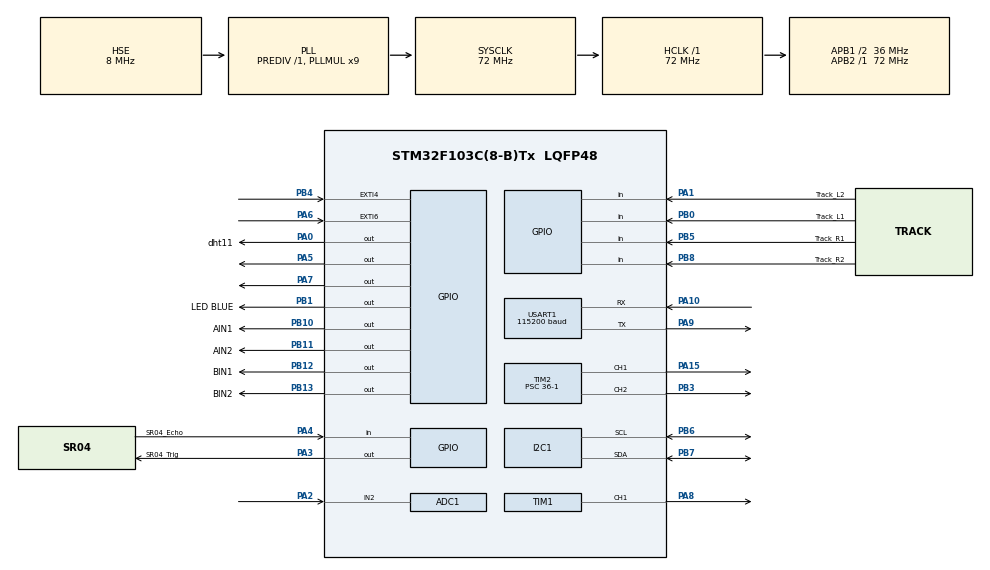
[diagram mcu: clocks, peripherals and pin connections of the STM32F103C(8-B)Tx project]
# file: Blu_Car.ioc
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ADC1.Channel-0\#ChannelRegularConversion=ADC_CHANNEL_2
ADC1.NbrOfConversionFlag=1
ADC1.Rank-0\#ChannelRegularConversion=1
ADC1.SamplingTime-0\#ChannelRegularConversion=ADC_SAMPLETIME_1CYCLE_5
ADC1.master=1
Dma.Request0=USART1_RX
Dma.USART1_RX.0.Direction=DMA_PERIPH_TO_MEMORY
Dma.USART1_RX.0.Instance=DMA1_Channel5
Dma.USART1_RX.0.MemDataAlignment=DMA_MDATAALIGN_BYTE
Dma.USART1_RX.0.MemInc=DMA_MINC_ENABLE
Dma.USART1_RX.0.Mode=DMA_NORMAL
Dma.USART1_RX.0.PeriphDataAlignment=DMA_PDATAALIGN_BYTE
Dma.USART1_RX.0.PeriphInc=DMA_PINC_DISABLE
Dma.USART1_RX.0.Priority=DMA_PRIORITY_LOW
I2C1.I2C_Mode=I2C_Fast
Mcu.Family=STM32F1
Mcu.Name=STM32F103C(8-B)Tx
Mcu.Package=LQFP48
NVIC.DMA1_Channel5_IRQn=true\:0\:0\:false\:false\:true\:false\:true
NVIC.EXTI4_IRQn=true\:0\:0\:false\:false\:true\:true\:true
NVIC.EXTI9_5_IRQn=true\:0\:0\:false\:false\:true\:true\:true
NVIC.PriorityGroup=NVIC_PRIORITYGROUP_4
NVIC.TIM4_IRQn=true\:0\:0\:false\:false\:true\:true\:true
NVIC.USART1_IRQn=true\:0\:0\:false\:false\:true\:true\:true
PA0-WKUP.GPIO_Label=dht11
PA0-WKUP.Signal=GPIO_Output
PA1.GPIO_Label=Track_L2
PA1.Signal=GPIO_Input
PA10.Mode=Asynchronous
PA10.Signal=USART1_RX
PA13.Mode=Serial_Wire
PA13.Signal=SYS_JTMS-SWDIO
PA14.Mode=Serial_Wire
PA14.Signal=SYS_JTCK-SWCLK
PA15.Signal=S_TIM2_CH1_ETR
PA2.Signal=ADCx_IN2
PA3.GPIO_Label=SR04_Trig
PA3.Signal=GPIO_Output
PA4.GPIO_Label=SR04_Echo
PA4.Signal=GPIO_Input
PA5.Signal=GPIO_Output
PA6.GPIO_ModeDefaultEXTI=GPIO_MODE_IT_RISING_FALLING
PA6.GPIO_PuPd=GPIO_PULLUP
PA6.Signal=GPXTI6
PA7.Signal=GPIO_Output
PA8.Signal=S_TIM1_CH1
PA9.Mode=Asynchronous
PA9.Signal=USART1_TX
PB0.GPIO_Label=Track_L1
PB0.GPIO_PuPd=GPIO_PULLDOWN
PB0.Signal=GPIO_Input
PB1.GPIO_Label=LED BLUE
PB1.Signal=GPIO_Output
PB10.GPIO_Label=AIN1
PB10.Signal=GPIO_Output
PB11.GPIO_Label=AIN2
PB11.Signal=GPIO_Output
PB12.GPIO_Label=BIN1
PB12.Signal=GPIO_Output
PB13.GPIO_Label=BIN2
PB13.Signal=GPIO_Output
PB3.Signal=S_TIM2_CH2
PB4.GPIO_ModeDefaultEXTI=GPIO_MODE_IT_RISING_FALLING
PB4.GPIO_PuPd=GPIO_PULLUP
PB4.Signal=GPXTI4
PB5.GPIO_Label=Track_R1
PB5.Signal=GPIO_Input
PB6.Mode=I2C
PB6.Signal=I2C1_SCL
PB7.Mode=I2C
PB7.Signal=I2C1_SDA
PB8.GPIO_Label=Track_R2
PB8.Signal=GPIO_Input
PD0-OSC_IN.Mode=HSE-External-Oscillator
PD0-OSC_IN.Signal=RCC_OSC_IN
PD1-OSC_OUT.Mode=HSE-External-Oscillator
PD1-OSC_OUT.Signal=RCC_OSC_OUT
ProjectManager.HeapSize=0x200
ProjectManager.StackSize=0x400
ProjectManager.TargetToolchain=MDK-ARM V5.27
RCC.ADCPresc=RCC_ADCPCLK2_DIV6
RCC.AHBFreq_Value=72000000
RCC.APB1CLKDivider=RCC_HCLK_DIV2
RCC.APB1Freq_Value=36000000
RCC.APB1TimFreq_Value=72000000
RCC.APB2Freq_Value=72000000
RCC.APB2TimFreq_Value=72000000
RCC.HCLKFreq_Value=72000000
RCC.PLLMUL=RCC_PLL_MUL9
RCC.PLLSourceVirtual=RCC_PLLSOURCE_HSE
RCC.SYSCLKFreq_VALUE=72000000
RCC.SYSCLKSource=RCC_SYSCLKSOURCE_PLLCLK
RCC.USBFreq_Value=72000000
SH.ADCx_IN2.0=ADC1_IN2,IN2
SH.S_TIM1_CH1.0=TIM1_CH1,PWM Generation1 CH1
SH.S_TIM2_CH1_ETR.0=TIM2_CH1,PWM Generation1 CH1
SH.S_TIM2_CH2.0=TIM2_CH2,PWM Generation2 CH2
TIM1.Channel-PWM\ Generation1\ CH1=TIM_CHANNEL_1
TIM1.Period=20000-1
TIM1.Prescaler=72-1
TIM2.Channel-PWM\ Generation1\ CH1=TIM_CHANNEL_1
TIM2.Channel-PWM\ Generation2\ CH2=TIM_CHANNEL_2
TIM2.Period=100-1
TIM2.Prescaler=36-1
TIM3.AutoReloadPreload=TIM_AUTORELOAD_PRELOAD_ENABLE
TIM3.Prescaler=72-1
TIM4.Period=100-1
TIM4.Prescaler=7200-1
USART1.BaudRate=115200
USART1.VirtualMode=VM_ASYNC
VP_TIM1_VS_ClockSourceINT.Mode=Internal
VP_TIM2_VS_ClockSourceINT.Mode=Internal
VP_TIM3_VS_ClockSourceINT.Mode=Internal
VP_TIM4_VS_ClockSourceINT.Mode=Internal
board=custom

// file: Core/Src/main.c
/* USER CODE BEGIN Header */
/**
  ******************************************************************************
  * @file           : main.c
  * @brief          : Main program body
  ******************************************************************************
  * @attention
  *
  * <h2><center>&copy; Copyright (c) 2025 STMicroelectronics.
  * All rights reserved.</center></h2>
  *
  * This software component is licensed by ST under BSD 3-Clause license,
  * the "License"; You may not use this file except in compliance with the
  * License. You may obtain a copy of the License at:
  *                        opensource.org/licenses/BSD-3-Clause
  *
  ******************************************************************************
  */
/* USER CODE END Header */
#include "main.h"
#include "adc.h"
#include "dma.h"
#include "i2c.h"
#include "tim.h"
#include "usart.h"
#include "gpio.h"

/* USER CODE BEGIN Includes */
#include <string.h>
#include "oled.h"
#include "font.h"
#include <stdio.h>
#include <stdlib.h>
#include "dht11.h"
//#include "max7219.h"
#include "key.h"
//#include "MPU6050.h"
#include "Blucar.h"
#include "PID.h"
#include "mpu6050.h"
#include "HCSR04.h"
#include "filter.h"
/* USER CODE END Includes */

/* USER CODE BEGIN PD */

#define RX_MAX_LEN 1024       // 定义足够大的接收缓冲区
#define RX_BUFFER_SIZE 512
#define RX_BLU_SIZE 256  // 定义缓冲区大小
#define free_state 0
#define singlepress 1
#define doublepress 2
#define longpress 3
#define WEATHER_KEY "SkauKTjXsbUijiTkw"
#define WEATHER_CITY "guangzhou"
// OneNET 配置信息
#define ONENET_PID      "NW4ydVqKGU"       // 产品 ID
#define ONENET_DEVICE   "pro1"             // 设备名称
// 【注意】这里必须填计算出来的 Token (res=products/PID/devices/pro1)
#define ONENET_TOKEN "version=2018-10-31&res=products%2FNW4ydVqKGU%2Fdevices%2Fpro1&et=2541412770&method=md5&sign=2vCMFmP%2FtvBfhgw8YwXQDg%3D%3D"

// OneNET 物模型上报 Topic (固定格式)
#define TOPIC_POST      "$sys/" ONENET_PID "/" ONENET_DEVICE "/thing/property/post"
/* USER CODE END PD */

/* USER CODE BEGIN PV */
PID_TypeDef Motor_PID_L;
PID_TypeDef Motor_PID_R;
//MPU6050 MM;
extern MPU6050_t mpu;
KalmanFilter KK1;
KalmanFilter KK2;

extern float Track_Kp;
extern float Track_Kd;

uint16_t pid;
 char temp_str[10] = {0};
char weather_str[20] = {0};
char Car_dir;
//volatile uint8_t Car_Mode=1;
volatile uint8_t Blu_rx_buffer[RX_BUFFER_SIZE]; // 接收缓冲区
volatile uint8_t Blu_rx_len = 0; // 接收到的数据长度
volatile uint8_t Blu_rx_ready = 0; // 标志位：1表示收到新指令
volatile uint8_t RxBuffer[RX_MAX_LEN];  // DMA 原始接收桶
volatile uint16_t RxLen = 0;            // 实际接收长度
volatile uint8_t RecvEndFlag = 0;       // 接收完成标志
volatile static uint32_t stopcartime=0;
/*
// === 惯性控制变量 ===
volatile int16_t Target_PWM_L = 0;  // 左轮目标速度
volatile int16_t Target_PWM_R = 0;  // 右轮目标速度
volatile int16_t Current_PWM_L = 0; // 左轮实际速度 (逐渐变化)
volatile int16_t Current_PWM_R = 0; // 右轮实际速度 (逐渐变化)
volatile uint8_t Speed_Update_Flag = 0; // 定时器触发标志
*/
volatile uint8_t  Car_Mode = 1;          // 内部记录模式
volatile uint8_t  Speed_Update_Flag = 0; // 内部记录时间标志
char http_buffer[512]; // 存放 HTTP 请求报文
char len_cmd[128];      // 存放长度指令
char process_buff[RX_BUFFER_SIZE]; // 【新增】用于解析的备份缓冲区
char rxbuff[RX_BUFFER_SIZE];
char Txbuff[35];
char message[256];
char dht11message[256];
char adc[10];
char onenetsend[512];
uint8_t oledflag=0;
uint8_t txflag=0;
volatile uint8_t rxflag=0;
uint8_t sendflag=0;
uint8_t weathergetflag=0;
uint8_t lastweaflag=0;
uint8_t btrysendflag=0;
uint8_t stopcarflag=0;
uint8_t SR04_send_flag=0;
uint8_t speed_countflag=0;
uint8_t Car_Trackflag=0;
volatile uint8_t rx_index = 0;
volatile uint8_t new_data_available = 0;
char oled[50];
uint8_t temperature = 0;
uint8_t humidity = 0;
uint16_t Car_speed=0;
uint8_t doubleflag;
uint8_t singleflag;
uint8_t longflag;
uint8_t keyscanflag;
uint8_t wificheckflag;
uint8_t sr04_Readflag=0;
uint8_t Mpuflag=0;
uint8_t Actual_Speed=35;
long pwmvalue;
float PID_L=0;
float PID_R=0;
// 全局变量记录脉冲
volatile long pulse_count_L = 0;
volatile long pulse_count_R = 0;
float speed_L = 0.0f;         // 当前速度 (cm/s)
float speed_R = 0.0f;
/* 发送电量变量 */
uint32_t Last_Send_Time = 0;
char send_buf[30];

uint32_t Last_Cmd_Time = 0; // 全局变量，记录上次收到指令的时间
char line2[] = "Host: api.seniverse.com\r\n";
char line3[] = "Connection: close\r\n";
char line4[] = "\r\n"; // 【关键】最后的空行

float Target_Yaw = 0;      // 目标朝向
uint8_t Yaw_Lock_Flag = 0; // 锁定标志位

// 转向环参数 (建议 Kp=2.0 ~ 5.0, Kd=0.0)
// Kp=2.0 表示：偏离 1度，左右轮差速 4 (左+2, 右-2)
float Turn_Kp = 2.0f;
//MPU6050 MM;
/* USER CODE END PV */

void SystemClock_Config(void);
/* USER CODE BEGIN PFP */
void send_at_command(const char* cmd);
void Get_Temp(void);
uint8_t MQTTRec(char * data);
void Set_Servo_Angle(TIM_HandleTypeDef *htim, uint32_t Channel, uint8_t angle);
void MQTThandle(void);
void oledshow(char *text,uint8_t x,uint8_t y);
void Get_Weather(void);
void Onenet_connect(void);
void Parse_Weather_Smart(void);
void Control_Car(uint8_t mode,uint8_t cmd,uint8_t speed);
void Car_btry(void);
void Car_Speed_Loop(void);
/* USER CODE END PFP */

int main(void)
{

  /* MCU Configuration--------------------------------------------------------*/

  /* Reset of all peripherals, Initializes the Flash interface and the Systick. */
  HAL_Init();

  /* Configure the system clock */
  SystemClock_Config();

  /* Initialize all configured peripherals */
  MX_GPIO_Init();
  MX_DMA_Init();
  MX_USART1_UART_Init();
  MX_I2C1_Init();
  MX_TIM2_Init();
  MX_TIM4_Init();
  MX_ADC1_Init();
  MX_TIM3_Init();
  MX_TIM1_Init();
  /* USER CODE BEGIN 2 */
  /*
    send_at_command("AT+RST");
	HAL_Delay (1000);
	*/

	SSD1306_Init();
	SSD1306_Clear();
	oledshow("ok",0,20);

	HAL_GPIO_WritePin(LED_BLUE_GPIO_Port,LED_BLUE_Pin,GPIO_PIN_SET);
	HAL_GPIO_WritePin(GPIOA, GPIO_PIN_5, GPIO_PIN_RESET); // servo IN1
    HAL_GPIO_WritePin(GPIOA, GPIO_PIN_7, GPIO_PIN_RESET); // servo IN2

	//onenet init

	//send_at_command("AT+CWJAP=\"Neo8\",\"2271902787\"");
	//HAL_Delay(1000);

	//send_at_command("AT+CWJAP=\"Xiaomi_D44B\",\"2271902787Ab\"");
	//HAL_Delay (4000);
//send_at_command("AT+CIPSTART=\"TCP\",\"api.seniverse.com\",80");

	DHT11_Init();
	SR04_Init();
	Motor_Init(); //电机初始化
	PID_Init(&Motor_PID_L, 0.6f, 0.2f, 0.0f, 100.0f);
	PID_Init(&Motor_PID_R, 0.6f, 0.2f, 0.0f, 100.0f);
	Track_PID_Init(10,5);
	//HAL_TIM_PWM_Start(&htim3, TIM_CHANNEL_1);
	HAL_TIM_PWM_Start(&htim1, TIM_CHANNEL_1);
	MPU6050_Init(&hi2c1);
	// 2. 这里的延时很重要，等待传感器上电稳定
	HAL_Delay(1000);

	// 3. 执行校准 (此时千万不要动小车！)
	MPU6050_Calibrate_Z(&hi2c1);
	//MPU6050_init(&hi2c1);
	//KalmanFilter_Init(&KK1,0.01,0.1,0,1);
	//KalmanFilter_Init(&KK2,0.01,0.1,0,1);
	//HAL_TIM_Base_Start(&htim4);
	//HAL_UART_Receive_IT(&huart1, (uint8_t*)&rxbuff[0], 1);

	// 1. 开启 IDLE 中断
  //__HAL_UART_ENABLE_IT(&huart1, UART_IT_IDLE);
  // 2. 开启 DMA 接收 (CPU 可以去玩了，DMA 会干活)
  // HAL_UART_Receive_DMA(&huart1, (uint8_t*)Blu_rx_buffer, RX_BLU_SIZE);

	 HAL_UARTEx_ReceiveToIdle_DMA(&huart1,(uint8_t*)Blu_rx_buffer,RX_BLU_SIZE);	//手动开启串口DMA模式接收数据
  	__HAL_DMA_DISABLE_IT(&hdma_usart1_rx, DMA_IT_HT);

	HAL_TIM_Base_Start_IT(&htim4);
	//__HAL_TIM_SET_COMPARE(&htim1, TIM_CHANNEL_1,0);
	//HAL_ADC_Start(&hadc1);
	//HAL_TIM_Encoder_Start(&htim4,TIM_CHANNEL_ALL);

  /* USER CODE END 2 */

  /* Infinite loop */
  /* USER CODE BEGIN WHILE */
  while (1)
  {
	  if(Mpuflag){
			Mpuflag=0;
		  MPU6050_Read_All(&hi2c1,&mpu);
	  }

	  //HAL_Delay(1000);

	  /* main.c 的 while(1) 循环内 */

	  if(myCar.Mode == 4)
	  {
		  if(Car_Trackflag){
				Car_Trackflag=0;
			   Car_Track_Line(&myCar,&mpu); // 循迹函数
		  }

     }

	  if(sr04_Readflag)
     {
			 sr04_Readflag = 0;
			 if(myCar.Mode != 4){
				Car_AutoRun(&myCar);
			 }
	  }

	  if(speed_countflag)
	  {
			speed_countflag=0;

			Car_Getspd(pulse_count_L,pulse_count_R);

		  /*
			 // 3. PID 计算 (现在正负号对齐了，PID 就能正常工作了)
			 float PWM_L,PWM_R ;

		// 3. 特殊处理：如果目标速度是 0，直接关断，不要用 PID 反转刹车
		// 这能解决“松手高速甩一下”的问题
		 if (Car_speed == 0)
		 {
			  PWM_L = 0;
			  PWM_R = 0;

			  // 只有在确定要停车时，才复位 PID，防止下次启动冲出去
			  PID_Reset(&Motor_PID_L);
			  PID_Reset(&Motor_PID_R);
		 }
		 else
		 {
			  // 正常行驶：进行 PID 计算
			  // 注意：这里绝对不要调用 PID_Reset！

				  PWM_L = PID_Compute(&Motor_PID_L, speed_L, Car_speed); // 注意参数顺序：通常是(PID, 目标, 实际)
				  PWM_R = PID_Compute(&Motor_PID_R, speed_R, Car_speed);

			  // 可选：在这里可以加一个“防反转”逻辑
			  // 如果你不希望车子为了减速而反转电机（保护牙箱），可以限制最小值为 0
			  // if(Car_dir == 'A' && PWM_L < 0) PWM_L = 0;
			  // if(Car_dir == 'A' && PWM_R < 0) PWM_R = 0;
		 }
		 */
		 /*
		MPU6050_Get_Angle(&MM);
	  float newroll=KalmanFilter_Update(&KK1,MM.roll);
	   float newpitch=KalmanFilter_Update(&KK2,MM.pitch);
		 */
		 //MPU6050_Read_All(&hi2c1,&mpu);

			 // 4. 执行输出
			//Car_Wheelspd(Car_dir,&myCar,(int16_t)PWM_L, (int16_t)PWM_R);

			// 修改你的打印语句，增加 PWM_L 和 PWM_R
			//sprintf(Txbuff, "[L:PWM=%.1f] [R:PWM=%.1f]",PWM_L, PWM_R);
        sprintf(send_buf, "[Spd,%.1f,%.1f]", speed_L,speed_R);
		 sprintf(Txbuff, "[x:%.1f,y:%.1f,z:%.1f]", mpu.KalmanAngleX,mpu.KalmanAngleY,mpu.KalmanAngleZ);
	  }

		if(keyscanflag==1){
			keyscanflag=0;
			Keyscan();
		}

		// === 电压测量与发送 (没指令时每5秒发一次) ===
	 if(btrysendflag){

			btrysendflag=0;
			Car_Report_Status();
	 }

	 if(Speed_Update_Flag){
		 Speed_Update_Flag=0;
		 //Motor_PID_R.Target=Car_speed;
	    //pid =PID_Compute(&Motor_PID_R,35);
		 if(myCar.Mode!=3&&myCar.Mode!=4)
		 {
				Car_Wheelspd(Car_dir,&myCar,Car_speed, Car_speed);
		 }
		 //Car_Speed_Handle(&myCar);
	 }

	 if(SR04_send_flag){
		 SR04_send_flag=0;
		 //陀螺仪

		 HAL_UART_Transmit(&huart, (uint8_t*)send_buf, strlen(send_buf), 100);
		 sprintf(send_buf, "[Sonic,%.2f]",g_Distance);
       //HAL_UART_Transmit(&huart, (uint8_t*)send_buf, strlen(send_buf), 100);
		 HAL_UART_Transmit(&huart, (uint8_t*)Txbuff, strlen(Txbuff), 100);
		 //printf("[%.2f,%.2f,%.4f]\n",MM.pitch,MM.roll,MM.yaw);//使用串口发送数据
	 }

	//蓝牙接收处理
	// 检查是否有新数据
    if(Blu_rx_ready == 1)
    {
        Blu_rx_ready = 0; // 清除标志位

		  HAL_UART_Transmit(&huart1, (uint8_t*)&Blu_rx_buffer, Blu_rx_len,100);
			// 永远只找最后一个 '['，忽略前面积压的旧数据
			char *p = strrchr((char*)Blu_rx_buffer, '[');
		 // 1. 定义临时变量 (int 类型)
			int temp_speed = 0;
			int temp_mode = 0;
		 //if(strstr((char*)Blu_rx_buffer,"[Car")!=NULL)
		 //解析接收的指令
		 if (p != NULL)
		 {
				if (sscanf(p, "[Car,%c,%d]",&Car_dir,&temp_speed) == 2)
				{

					stopcartime=0;
					stopcarflag=0;
					if(myCar.Mode != 3 && myCar.Mode != 4){
						// 3. 安全赋值 (把 int 转回 uint16_t)
						Car_speed = (uint16_t)temp_speed;;
						// 【新增】如果速度为0，强制复位所有状态，防止下次启动乱跑
					  if(Car_speed == 0) {
							PID_Reset(&Motor_PID_L);
							PID_Reset(&Motor_PID_R);
							Car_Wheelspd('S', &myCar, 0, 0); // 立即执行一次停车
					  }
						//Car_Run(&myCar,Car_dir,Car_speed);

					}
					//printf("Car_dir:%c,speed:%d",Car_dir,Car_speed);

				}

				//获取小程序控制模式
				if (sscanf(p, "[Mode,%d]", &temp_mode) == 1)
				{
						stopcartime=0;
					   Set_Servo_Angle(&htim1, TIM_CHANNEL_1, 90);
					   myCar.Mode = (uint8_t)temp_mode;

				}

            // 接收小程序指令，立马发送一次电量
				if (strstr(p, "[Connect]") != NULL)
				{
						Car_Report_Status();
				}

				char var_name[10];
				float var_value = 0.0f;

				if (sscanf(p, "[SET,%s,%f]", var_name, &var_value) == 2)
				{
					 // 1. 循迹环参数
					 if (strcmp(var_name, "TKP") == 0) {
						  Track_Kp = var_value;
						  sprintf(send_buf, "[LOG,Track_Kp=%.2f]", Track_Kp); // 回显确认
					 }
					 else if (strcmp(var_name, "TKD") == 0) {
						  Track_Kd = var_value;
						  sprintf(send_buf, "[LOG,Track_Kd=%.2f]", Track_Kd);
					 }
					 // 2. 速度环参数 (需要重新 Init PID)
					 else if (strcmp(var_name, "SKP") == 0) {
						  //Speed_Kp = var_value;
						  //PID_Init(&Motor_PID_L, Speed_Kp, Speed_Ki, 0, 100); // 重新初始化
						  //PID_Init(&Motor_PID_R, Speed_Kp, Speed_Ki, 0, 100);
						  //sprintf(send_buf, "[LOG,Speed_Kp=%.2f]", Speed_Kp);
					 }
					 else if (strcmp(var_name, "SKI") == 0) {
						  //Speed_Ki = var_value;
						  //PID_Init(&Motor_PID_L, Speed_Kp, Speed_Ki, 0, 100);
						  //PID_Init(&Motor_PID_R, Speed_Kp, Speed_Ki, 0, 100);
						  //sprintf(send_buf, "[LOG,Speed_Ki=%.2f]", Speed_Ki);
					 }

					 // 发送回显，让小程序知道修改成功了
					 HAL_UART_Transmit(&huart, (uint8_t*)send_buf, strlen(send_buf), 100);
				}

				memset((char*)Blu_rx_buffer, 0, RX_BLU_SIZE);
		}

		Blu_rx_len = 0;
		HAL_UARTEx_ReceiveToIdle_DMA(&huart1, (uint8_t*)Blu_rx_buffer, RX_BLU_SIZE); /// 接收完毕后重启串口DMA模式接收数据
		 /*
		 //舵机控制
		 if(strstr((char*)Blu_rx_buffer,"1")!=NULL){
			Set_Servo_Angle(&htim2,TIM_CHANNEL_1,0);
		}

		 int n;
		static uint32_t last_servo_time = 0; // 记录上次动舵机的时间
		 static uint8_t last_servo_angle = 255; // 初始值设为一个不可能的角度，确保第一次能执行
			if (sscanf((char*)Blu_rx_buffer, "[slider,1,%d]", &n) == 1)
         {
                // 3. 安全限幅 (防止手机发来 200 把舵机烧了)
                if(n < 0) n = 0;
                if(n > 100) n = 100;

                // 4. 映射计算
                // 输入: 0~100
                // 输出: 0~180 度
                // 公式: 角度 = (数值 / 100.0) * 180
                uint8_t servo_angle = (uint8_t)(n * 1.6);
						printf("n为:%d",n);

					if (abs(servo_angle - last_servo_angle) > 3)
					{
						 // === 新增：时间限制 ===
						 // 只有距离上次操作超过 100ms (0.1秒) 才允许再次动舵机
						 if (HAL_GetTick() - last_servo_time > 100)
						 {
							  Set_Servo_Angle(&htim2, TIM_CHANNEL_1, servo_angle);
							  last_servo_angle = servo_angle;
							  last_servo_time = HAL_GetTick(); // 更新时间戳
						 }
					}

         }

        // 处理接收到的蓝牙指令
        // 假设指令是单个字符：rx_buffer[0]
        // 如果指令是字符串（如 "GO"），可以用 strcmp 判断

        // 简单示例：取第一个字节控制
        //Control_Car(Blu_rx_buffer[0]);
		 //printf("数据:%d:",Blu_rx_buffer[0]);
        // 调试：如果你有 OLED，可以在这里打印 rx_buffer 看看收到了啥
		  */
    }

	 //看门狗,超时强制停车,防止小车失控
	 if(stopcarflag)
	 {
			stopcarflag=0;

			if(myCar.Target_PWM_L != 0 || myCar.Target_PWM_R != 0)
			{
				myCar.Target_Speed = 0; // 更新状态变量
				myCar.Current_PWM_L = 0;
				myCar.Current_PWM_R = 0;
				// 【核心修改】不仅要停硬件，还要清空“幽灵变量”
			  Car_speed = 0;  // 必须清零！否则下个 10ms 循环又把它启动了
			  Car_dir = 'S';  // 方向归位
				Car_Force_Stop(&myCar);
				//HAL_UART_Transmit(&huart1, (uint8_t*)"[Info,Stop]\r\n", 13, 100);
				//HAL_UART_Transmit(&huart1, (uint8_t*)"stop\r\n", 6, 100);
			}

	 }
	 /*//红外

	if (HAL_GPIO_ReadPin(GPIOB, GPIO_PIN_5) == GPIO_PIN_RESET)
    {
       HAL_GPIO_WritePin(LED_BLUE_GPIO_Port,LED_BLUE_Pin,GPIO_PIN_RESET);
    }
    else
    {
        HAL_GPIO_WritePin(LED_BLUE_GPIO_Port,LED_BLUE_Pin,GPIO_PIN_SET);
    }

	 */

	if(weathergetflag==1){

			lastweaflag=weathergetflag;
			weathergetflag=0;

	}

	if(sendflag){

		Onenet_connect();
		sendflag=0;
	}

	  /* //红外adc
	uint16_t adc_value;
    HAL_ADC_PollForConversion(&hadc1, 50);
    if ((HAL_ADC_GetState(&hadc1) & HAL_ADC_STATE_REG_EOC) == HAL_ADC_STATE_REG_EOC)
    {
        adc_value = HAL_ADC_GetValue(&hadc1);
        sprintf(adc,"V: %d", adc_value);
		oledshow(adc);
    }
	if(adc_value<1000){
		Set_Servo_Angle(&htim2, TIM_CHANNEL_1, 45);  // 45掳
	}else Set_Servo_Angle(&htim2, TIM_CHANNEL_1, 90);  // 45掳
	HAL_Delay(500);
	 */
    /* USER CODE END WHILE */

  }
}

void SystemClock_Config(void)
{
  RCC_OscInitTypeDef RCC_OscInitStruct = {0};
  RCC_ClkInitTypeDef RCC_ClkInitStruct = {0};
  RCC_PeriphCLKInitTypeDef PeriphClkInit = {0};

  /** Initializes the RCC Oscillators according to the specified parameters
  * in the RCC_OscInitTypeDef structure.
  */
  RCC_OscInitStruct.OscillatorType = RCC_OSCILLATORTYPE_HSE;
  RCC_OscInitStruct.HSEState = RCC_HSE_ON;
  RCC_OscInitStruct.HSEPredivValue = RCC_HSE_PREDIV_DIV1;
  RCC_OscInitStruct.HSIState = RCC_HSI_ON;
  RCC_OscInitStruct.PLL.PLLState = RCC_PLL_ON;
  RCC_OscInitStruct.PLL.PLLSource = RCC_PLLSOURCE_HSE;
  RCC_OscInitStruct.PLL.PLLMUL = RCC_PLL_MUL9;
  if (HAL_RCC_OscConfig(&RCC_OscInitStruct) != HAL_OK)
  {
    Error_Handler();
  }
  /** Initializes the CPU, AHB and APB buses clocks
  */
  RCC_ClkInitStruct.ClockType = RCC_CLOCKTYPE_HCLK|RCC_CLOCKTYPE_SYSCLK
                              |RCC_CLOCKTYPE_PCLK1|RCC_CLOCKTYPE_PCLK2;
  RCC_ClkInitStruct.SYSCLKSource = RCC_SYSCLKSOURCE_PLLCLK;
  RCC_ClkInitStruct.AHBCLKDivider = RCC_SYSCLK_DIV1;
  RCC_ClkInitStruct.APB1CLKDivider = RCC_HCLK_DIV2;
  RCC_ClkInitStruct.APB2CLKDivider = RCC_HCLK_DIV1;

  if (HAL_RCC_ClockConfig(&RCC_ClkInitStruct, FLASH_LATENCY_2) != HAL_OK)
  {
    Error_Handler();
  }
  PeriphClkInit.PeriphClockSelection = RCC_PERIPHCLK_ADC;
  PeriphClkInit.AdcClockSelection = RCC_ADCPCLK2_DIV6;
  if (HAL_RCCEx_PeriphCLKConfig(&PeriphClkInit) != HAL_OK)
  {
    Error_Handler();
  }
}

/* USER CODE BEGIN 4 */

int fputc(int ch,FILE *f)
{
	HAL_UART_Transmit(&huart1, (uint8_t*)&ch, 1, 100);
	return ch;
}

void Set_Servo_Angle(TIM_HandleTypeDef *htim, uint32_t Channel, uint8_t angle)
{
    uint16_t pulse_width = 500 + (angle/ 180.0) * 2000;
    __HAL_TIM_SET_COMPARE(htim, Channel, pulse_width);
    HAL_Delay(15);
}

uint8_t MQTTRec(char * data)
{
	 if (strstr(rxbuff, "+MQTTSUBRECV:") != NULL && strstr(rxbuff, data) != NULL)
	 {
		return 1;
	 }else return 0;
}

void oledshow(char *text,uint8_t x,uint8_t y)
{

	SSD1306_GotoXY(x, y);
	SSD1306_Puts(text, &Font_11x18, 1);
	SSD1306_UpdateScreen();
}

void Onenet_connect(void)
{
		if(lastweaflag==1){
			HAL_UART_Transmit(&huart1, (uint8_t*)"AT+CIPCLOSE\r\n", 13, 100);
			 HAL_Delay(500);
			snprintf(onenetsend,sizeof(onenetsend),"AT+MQTTUSERCFG=0,1,\"%s\",\"%s\",\"%s\",0,0,\"\"\r\n",ONENET_DEVICE,ONENET_PID,ONENET_TOKEN);
			send_at_command(onenetsend);
			 //send_at_command("AT+MQTTUSERCFG=0,1,\"%s\",\"%s\",\"%s\",0,0,\"\"\r\n",ONENET_DEVICE,ONENET_PID,ONENET_TOKEN);
				 HAL_Delay(500);
				send_at_command("AT+MQTTCONN=0,\"mqtts.heclouds.com\",1883,1\r\n");
				 // 3. 连接 OneNET MQTT 服务器

				 HAL_Delay(1000); // 连接需要时间，必须延时！
			snprintf(onenetsend,sizeof(onenetsend),"AT+MQTTSUB=0,\"$sys/%s/%s/thing/property/post/reply\",0\r\n",ONENET_PID,ONENET_DEVICE);
			send_at_command(onenetsend);
					//send_at_command("AT+MQTTSUB=0,\"$sys/NW4ydVqKGU/pro1/thing/property/post/reply\",0\r\n");

				 // 4. 构造物模型 JSON 数据
				 // 假设 OneNET 平台上有 identifier 为 "temperature" 和 "humidity" 的属性

				  HAL_Delay(1000);
			snprintf(onenetsend,sizeof(onenetsend),"AT+MQTTSUB=0,\"$sys/%s/%s/thing/property/set\",0\r\n",ONENET_PID,ONENET_DEVICE);
			send_at_command(onenetsend);
				//send_at_command("AT+MQTTSUB=0,\"$sys/NW4ydVqKGU/pro1/thing/property/set\",0\r\n");
			HAL_Delay(1000);
			lastweaflag=0;
		}

		Get_Temp();
		snprintf(onenetsend,sizeof(onenetsend),"AT+MQTTPUB=0,\"%s\",\"{\\\"id\\\":\\\"123\\\"\\,\\\"params\\\":{\\\"hum\\\":{\\\"value\\\":%d}\\,\\\"temp\\\":{\\\"value\\\":%d}}}\",0,0\r\n",TOPIC_POST,humidity,temperature);
   //snprintf(onenetsend,sizeof(onenetsend),"AT+MQTTPUB=0,\"%s\",\"{\\\"id\\\":\\\"123\\\"\\,\\\"params\\\":{\\\"hum\\\":{\\\"value\\\":%d}\\,\\\"temp\\\":{\\\"value\\\":%d}\\,\\\"weather\\\":{\\\"value\\\":\\\"%s\\\"}}}\",0,0\r\n",TOPIC_POST,humidity,temperature,weather_str);
				send_at_command(onenetsend);
		if(weathergetflag){
			 snprintf(onenetsend,sizeof(onenetsend),"AT+MQTTPUB=0,\"$sys/NW4ydVqKGU/pro1/thing/property/post\",\"{\\\"id\\\":\\\"123\\\"\\,\\\"params\\\":{\\\"weather\\\":{\\\"value\\\":\\\"%s\\\"}}}\",0,0\r\n",weather_str);
			send_at_command(onenetsend);
		}
}

void HAL_UARTEx_RxEventCallback(UART_HandleTypeDef *huart, uint16_t Size)
{
   if (huart->Instance == USART1)
   {
		// 1. 保存接收到的数据长度 (关键修正！)
      Blu_rx_len = Size;

   	Blu_rx_ready =1;
   	//__HAL_DMA_DISABLE_IT(&hdma_usart1_rx, DMA_IT_HT);		   		// 手动关闭DMA_IT_HT中断
   							   	// 清除接收缓存
   }
}

/*
// --- 核心优化：处理空闲中断 (IDLE) ---
void USER_UART_IDLECallback(UART_HandleTypeDef *huart)
{
    if(huart->Instance == USART1)
    {
        // 检查是否是空闲中断 (数据发完了，总线停了)
        if(__HAL_UART_GET_FLAG(huart, UART_FLAG_IDLE) != RESET)
        {
            // 1. 清除 IDLE 标志
            __HAL_UART_CLEAR_IDLEFLAG(huart);

            // 2. 停止 DMA 接收 (为了计算收到了多少字节)
            HAL_UART_DMAStop(huart);

            // 3. 计算数据长度
            // 总长度 - DMA剩余待接收长度 = 实际接收长度
            Blu_rx_len = RX_BLU_SIZE - __HAL_DMA_GET_COUNTER(huart->hdmarx);

            // 4. 只有收到数据才处理
            if(Blu_rx_len > 0)
            {
                Blu_rx_ready = 1; // 告诉主循环：有一整包数据到了！

                // 为了配合 strstr，我们在数据末尾补一个 '\0'
                // 注意不要越界
                if(Blu_rx_len < RX_BLU_SIZE) Blu_rx_buffer[Blu_rx_len] = 0;
            }

            // 5. 重启 DMA，准备接下一包
            HAL_UART_Receive_DMA(huart, (uint8_t*)Blu_rx_buffer, RX_BLU_SIZE);
        }
    }

}
*/

void HAL_TIM_PeriodElapsedCallback(TIM_HandleTypeDef *htim)
{

	if (htim->Instance == TIM4)
	{
		static uint32_t keycount = 0;
		static uint32_t btrysendtime = 0;
		static uint32_t sr04_Readtime=0;
		static uint32_t sr04_sendtime=0;
		static uint32_t speed_counttime=0;

		if(myCar.Mode == 4){
			Car_Trackflag=1;
		}
		Speed_Update_Flag=1;

		if(++speed_counttime >= 5)
		{
			speed_countflag=1;
		   speed_counttime = 0;

		}

		if(++keycount >= 1)
		{  // 每10ms扫描一次按键
		  keycount = 0;
		  keyscanflag=1;
		  Mpuflag=1;
		}

		if(myCar.Target_Speed==0){
			if(++btrysendtime>500){
				btrysendtime=0;
				btrysendflag=1;
			}
		}else btrysendtime=0;

		if(myCar.Mode!=3 &&myCar.Mode!=4){

				if(++stopcartime > 30)
				{
						stopcartime=31;
						stopcarflag=1;
				}
		}else
		{
			 stopcartime = 0; // 如果是模式3或4，一直喂狗，保持活跃
		}

		if(++sr04_Readtime>=10){
			sr04_Readflag=1;
			sr04_Readtime=0;
		}

		if(++sr04_sendtime>=100){
			sr04_sendtime=0;
			SR04_send_flag=1;

		}
		/*
		// 5秒定时
		if(++weathersendcount >= 6000)
		{
		  weathersendcount = 0;
		  weathergetflag = 1;  // 触发数据发送
		}
		if(weathergetflag){
			if(++dht11sendcount >= 500){
				dht11sendcount=0;
				sendflag=1;
			}
		}
		*/
	}
}

void HAL_GPIO_EXTI_Callback(uint16_t GPIO_Pin)
{
    if(GPIO_Pin == GPIO_PIN_6) // 假设你接的是 PA0
    {
        pulse_count_L++;
    }
	 if(GPIO_Pin == GPIO_PIN_4) // 假设你接的是 PA0
    {
        pulse_count_R++;
    }
}

void send_at_command(const char* cmd)
{
    HAL_UART_Transmit(&huart1, (uint8_t*)cmd, strlen(cmd), 100);
    HAL_UART_Transmit(&huart1, (uint8_t*)"\r\n", 2, 100);
}
void Get_Temp(void)
{
	DHT11_Data_TypeDef DHT11_Data;
	if(DHT11_Read_TempAndHumidity(&DHT11_Data)==SUCCESS)
	{
		temperature = DHT11_Data.temperature;
		humidity = DHT11_Data.humidity;
	}

}
/* USER CODE END 4 */

void Error_Handler(void)
{
  __disable_irq();
  while (1)
  {
  }
}

/************************ (C) COPYRIGHT STMicroelectronics *****END OF FILE****/
